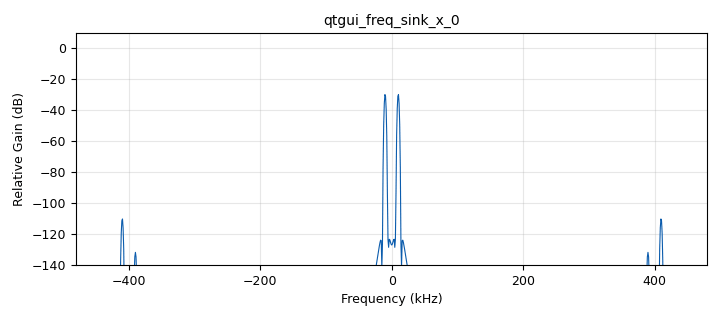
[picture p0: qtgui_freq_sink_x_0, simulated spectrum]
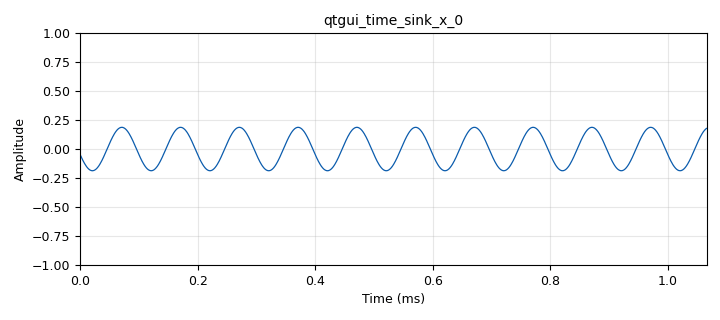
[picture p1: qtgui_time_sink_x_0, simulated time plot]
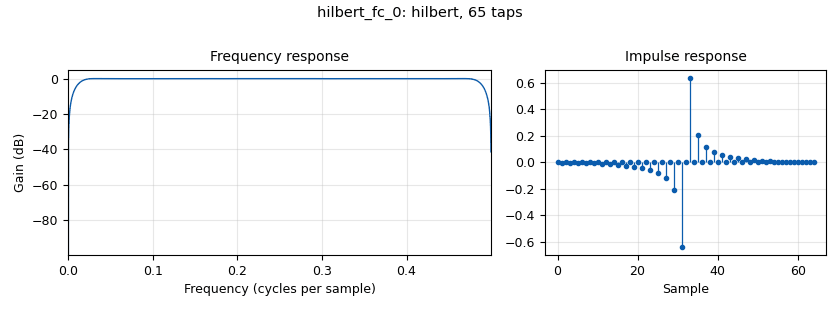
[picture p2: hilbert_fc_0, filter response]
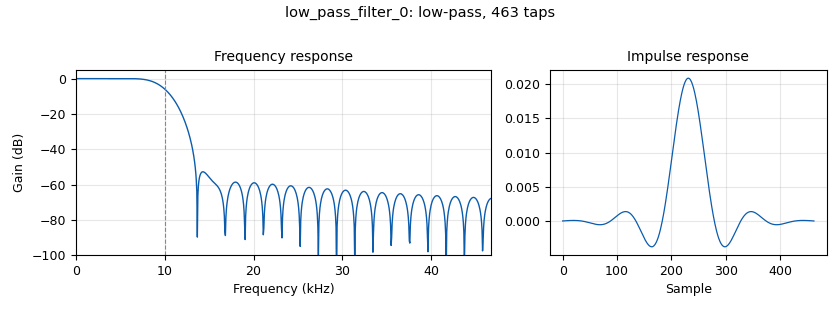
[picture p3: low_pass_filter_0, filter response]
options:
  parameters:
    generate_options: qt_gui
    id: TASK4
    output_language: python
    title: Not titled yet
  states: {}

blocks:
- name: samp_rate
  id: variable
  parameters:
    value: '960000'
  states: {}
- name: analog_sig_source_x_0
  id: analog_sig_source_x
  parameters:
    amp: '1'
    freq: '10000'
    offset: '0'
    phase: '0'
    samp_rate: samp_rate
    type: float
    waveform: analog.GR_COS_WAVE
  states: {}
- name: analog_sig_source_x_1
  id: analog_sig_source_x
  parameters:
    amp: '1'
    freq: '200000'
    offset: '0'
    phase: '0'
    samp_rate: samp_rate
    type: float
    waveform: analog.GR_COS_WAVE
  states: {}
- name: analog_sig_source_x_1_0
  id: analog_sig_source_x
  parameters:
    amp: '1'
    freq: '200000'
    offset: '0'
    phase: '0'
    samp_rate: samp_rate
    type: float
    waveform: analog.GR_COS_WAVE
  states: {}
- name: blocks_complex_to_real_0
  id: blocks_complex_to_real
  parameters: {}
  states: {}
- name: blocks_multiply_xx_0
  id: blocks_multiply_xx
  parameters:
    type: complex
  states: {}
- name: blocks_multiply_xx_1
  id: blocks_multiply_xx
  parameters:
    type: float
  states: {}
- name: blocks_throttle2_0
  id: blocks_throttle2
  parameters:
    samples_per_second: samp_rate
    type: float
  states: {}
- name: blocks_throttle2_1
  id: blocks_throttle2
  parameters:
    samples_per_second: samp_rate
    type: float
  states: {}
- name: blocks_throttle2_1_0
  id: blocks_throttle2
  parameters:
    samples_per_second: samp_rate
    type: float
  states: {}
- name: hilbert_fc_0
  id: hilbert_fc
  parameters:
    num_taps: '65'
  states: {}
- name: hilbert_fc_0_0
  id: hilbert_fc
  parameters:
    num_taps: '65'
  states: {}
- name: low_pass_filter_0
  id: low_pass_filter
  parameters:
    cutoff_freq: '10000'
    gain: '1'
    interp: '1'
    samp_rate: samp_rate
    type: interp_fir_filter_fff
    width: '5000'
    win: window.WIN_HAMMING
  states: {}
- name: qtgui_freq_sink_x_0
  id: qtgui_freq_sink_x
  parameters:
    bw: samp_rate
    fc: '0'
    fftsize: '1024'
    type: float
  states: {}
- name: qtgui_time_sink_x_0
  id: qtgui_time_sink_x
  parameters:
    size: '1024'
    srate: samp_rate
    type: float
  states: {}

connections:
- [analog_sig_source_x_0, '0', blocks_throttle2_0, '0']
- [analog_sig_source_x_1, '0', blocks_throttle2_1, '0']
- [analog_sig_source_x_1_0, '0', blocks_throttle2_1_0, '0']
- [blocks_complex_to_real_0, '0', blocks_multiply_xx_1, '0']
- [blocks_multiply_xx_0, '0', blocks_complex_to_real_0, '0']
- [blocks_multiply_xx_1, '0', low_pass_filter_0, '0']
- [blocks_throttle2_0, '0', hilbert_fc_0_0, '0']
- [blocks_throttle2_1, '0', hilbert_fc_0, '0']
- [blocks_throttle2_1_0, '0', blocks_multiply_xx_1, '1']
- [hilbert_fc_0, '0', blocks_multiply_xx_0, '1']
- [hilbert_fc_0_0, '0', blocks_multiply_xx_0, '0']
- [low_pass_filter_0, '0', qtgui_freq_sink_x_0, '0']
- [low_pass_filter_0, '0', qtgui_time_sink_x_0, '0']

metadata:
  file_format: 1
  grc_version: 3.10.9.2
